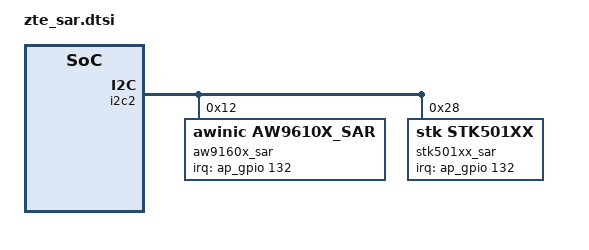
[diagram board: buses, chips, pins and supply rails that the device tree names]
&i2c2 {
	status = "okay";
	aw9160x_sar@12 {
		compatible = "awinic,aw9610x_sar";
		reg = <0x12>;
		sar-num = < 0 >;
		irq-gpio = <&ap_gpio 132 0>;
		chip_name = "AW96103";
		channel_use_flag = <0x01>;
		status = "okay" ;
	};

	stk501xx_sar@28 {
		compatible = "stk,stk501xx";
		reg = <0x28>;

		stk501xx,irq-gpio = <&ap_gpio 132 0>;
		stk501xx,phase_use_flag = <0x01>;
		sar_num = < 0 >;
		chip_name = "STK50153";
		status = "okay" ;
	};
};

/*
&i2c7 {
	status = "okay";
	aw9160x_sar@12 {
		compatible = "awinic,aw9610x_sar";
		reg = <0x12>;
		sar-num = < 1 >;
		irq-gpio = <&ap_gpio 183 0>;
		chip_name = "AW96103";
		channel_use_flag = <0x03>;
		status = "okay" ;
	};

	stk501xx_sar@28 {
		compatible = "stk,stk501xx";
		reg = <0x28>;

		stk501xx,irq-gpio = <&ap_gpio 183 0>;
		sar_num = < 1 >;
		chip_name = "STK50153";
		status = "okay" ;
	};
};
*/
